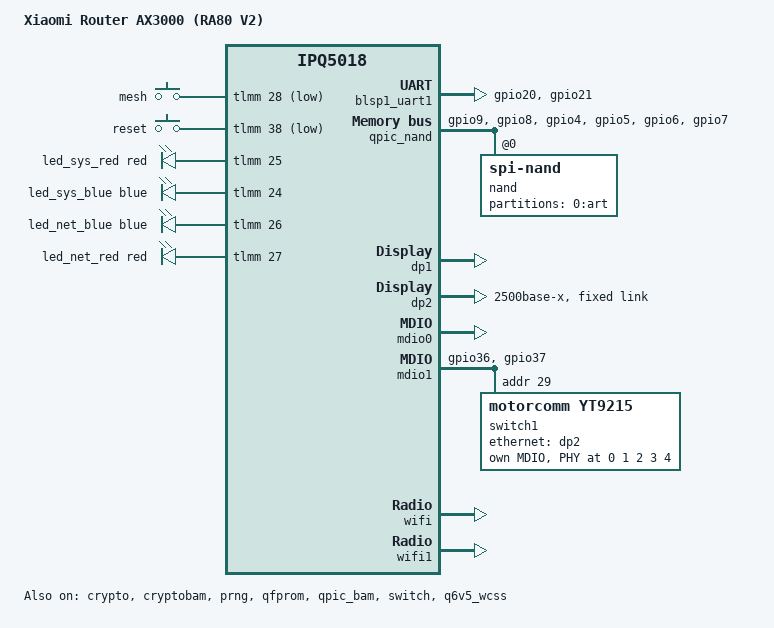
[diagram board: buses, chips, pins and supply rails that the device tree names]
// SPDX-License-Identifier: GPL-2.0-or-later OR MIT
/*
 * Xiaomi Router AX3000 (RA80 V2)
 * IPQ5018 + QCN6122, 128MB SPI-NAND, 256MB RAM
 *
 * 以太网拓扑（原厂 V2 实测）：
 *   MAC0(dp1) -> 内置 GE PHY（未接外置交换机）
 *   MAC1(dp2) -> Uniphy SGMII+ 2500 -> YT9215S CPU port (port 8)
 *   YT9215S: MDIO1，默认地址 0x1d，5 个内置 GbE PHY
 *   原厂 swconfig 端口映射：
 *     port0 -> Lan1, port1 -> Lan2, port2 -> Lan3, port3 -> Wan
 *     port5(原厂编号) = 2500M CPU 链路
 *
 * 本机实测：
 *   - ART: 0x0 = MAC0, 0x6 = MAC1
 *   - LED: 24/25/26/27，低电平点亮
 *   - KEY: mesh=28, reset=38
 *   - UART 由引导器配置；内核 bootargs 不要带 console=ttyMSM0
 *   - NAND 4-bit ECC 读取正常
 */

/dts-v1/;

#include "ipq5018.dtsi"
#include "ipq5018-ess.dtsi"
#include "ipq5018-qcn6122.dtsi"
#include "ipq5018-nss.dtsi"

#include <dt-bindings/gpio/gpio.h>
#include <dt-bindings/input/input.h>
#include <dt-bindings/leds/common.h>
#include <dt-bindings/net/qcom-ipq-ess.h>

/ {
	model = "Xiaomi Router AX3000 (RA80 V2)";
	compatible = "xiaomi,ra80-v2", "qcom,ipq5018";

	aliases {
		serial0 = &blsp1_uart1;
		led-boot = &led_sys_red;
		led-failsafe = &led_sys_red;
		led-running = &led_sys_blue;
		led-upgrade = &led_sys_red;
		label-mac-device = <&dp2>;
	};

	chosen {
		bootargs-append = " root=/dev/ubiblock0_1 swiotlb=1 coherent_pool=2M";
		stdout-path = "serial0:115200n8";
	};

	keys {
		compatible = "gpio-keys";
		pinctrl-0 = <&button_pins>;
		pinctrl-names = "default";

		mesh-button {
			label = "mesh";
			gpios = <&tlmm 28 GPIO_ACTIVE_LOW>;
			/* 原厂 linux,code = 0x109 (265) */
			linux,code = <265>;
		};

		reset-button {
			label = "reset";
			gpios = <&tlmm 38 GPIO_ACTIVE_LOW>;
			linux,code = <KEY_RESTART>;
		};
	};

	leds {
		compatible = "gpio-leds";
		pinctrl-0 = <&led_pins>;
		pinctrl-names = "default";

		led_sys_red: led-sys-red {
			gpios = <&tlmm 25 GPIO_ACTIVE_HIGH>;
			color = <LED_COLOR_ID_RED>;
			function = LED_FUNCTION_STATUS;
			default-state = "on";
		};

		led_sys_blue: led-sys-blue {
			gpios = <&tlmm 24 GPIO_ACTIVE_HIGH>;
			color = <LED_COLOR_ID_BLUE>;
			function = LED_FUNCTION_STATUS;
			default-state = "off";
		};

		led_net_blue: led-net-blue {
			gpios = <&tlmm 26 GPIO_ACTIVE_HIGH>;
			color = <LED_COLOR_ID_BLUE>;
			function = LED_FUNCTION_WAN;
			default-state = "off";
		};

		led_net_red: led-net-red {
			gpios = <&tlmm 27 GPIO_ACTIVE_HIGH>;
			color = <LED_COLOR_ID_RED>;
			function = LED_FUNCTION_WAN;
			/* WAN 未连接时常亮红灯 */
			default-state = "on";
		};
	};
};

&sleep_clk {
	clock-frequency = <32000>;
};

&xo_board_clk {
	clock-div = <4>;
	clock-mult = <1>;
};

&blsp1_uart1 {
	status = "okay";

	/*
	 * 原厂 serial@78af000 没有 pinctrl-0，串口由引导器配置。
	 * 这里保留原引脚定义，实测串口可用。
	 */
	pinctrl-0 = <&serial_0_pins>;
	pinctrl-names = "default";
};

&crypto {
	status = "okay";
};

&cryptobam {
	status = "okay";
};

&prng {
	status = "okay";
};

&qfprom {
	status = "okay";
};

&qpic_bam {
	status = "okay";
};

&qpic_nand {
	pinctrl-0 = <&qpic_pins>;
	pinctrl-names = "default";
	status = "okay";

	nand@0 {
		compatible = "spi-nand";
		reg = <0>;
		nand-ecc-engine = <&qpic_nand>;
		nand-bus-width = <8>;

		/*
		 * 分区表由引导器经 SMEM 传入（已验证版本）。
		 * RA80 原厂 label 为小写 0:art。
		 */
		partitions {
			compatible = "qcom,smem-part";

			partition-art {
				label = "0:art";
				read-only;

				nvmem-layout {
					compatible = "fixed-layout";
					#address-cells = <1>;
					#size-cells = <1>;

					macaddr_art_0: macaddr@0 {
						reg = <0x0 0x6>;
					};

					macaddr_art_6: macaddr@6 {
						compatible = "mac-base";
						reg = <0x6 0x6>;
						#nvmem-cell-cells = <1>;
					};
				};
			};
		};
	};
};

&switch {
	status = "okay";

	/* 原厂 V2: SGMII+ 2500 到 YT9215S */
	switch_mac_mode = <MAC_MODE_SGMII_PLUS>;

	qcom,port_phyinfo {
		/* MAC0 -> 内置 GE PHY */
		port@0 {
			port_id = <1>;
			mdiobus = <&mdio0>;
			phy_address = <7>;
		};

		/* MAC1 -> Uniphy SGMII+ 2500 -> YT9215S CPU port */
		port@1 {
			port_id = <2>;
			/* qca-ssdk 需要这个属性才会选 PORT_GMAC_TYPE = SGMII+ */
			port_mac_sel = "QGMAC_PORT";
			forced-speed = <2500>;
			forced-duplex = <1>;
		};
	};
};

&dp1 {
	status = "okay";

	nvmem-cells = <&macaddr_art_0>;
	nvmem-cell-names = "mac-address";
};

&dp2 {
	status = "okay";

	nvmem-cells = <&macaddr_art_6 0>;
	nvmem-cell-names = "mac-address";
	phy-mode = "2500base-x";

	fixed-link {
		speed = <2500>;
		full-duplex;
	};
};

&mdio0 {
	status = "okay";
};

&ge_phy {
	qcom,dac-preset-short-cable;
};

&mdio1 {
	status = "okay";

	pinctrl-0 = <&mdio1_pins>;
	pinctrl-names = "default";

	/*
	 * V2 使用 Motorcomm YT9215S，不是 V1 的 QCA8337。
	 * 默认 strap 地址 0x1d；如果探测不到，改试 0x0。
	 */
	switch1: switch@1d {
		compatible = "motorcomm,yt9215";
		reg = <0x1d>;

		mdio {
			#address-cells = <1>;
			#size-cells = <0>;

			yt_phy0: phy@0 {
				reg = <0>;
			};

			yt_phy1: phy@1 {
				reg = <1>;
			};

			yt_phy2: phy@2 {
				reg = <2>;
			};

			yt_phy3: phy@3 {
				reg = <3>;
			};

			yt_phy4: phy@4 {
				reg = <4>;
			};
		};

		ethernet-ports {
			#address-cells = <1>;
			#size-cells = <0>;

			ethernet-port@0 {
				reg = <0>;
				label = "lan1";
				phy-mode = "internal";
				phy-handle = <&yt_phy0>;
			};

			ethernet-port@1 {
				reg = <1>;
				label = "lan2";
				phy-mode = "internal";
				phy-handle = <&yt_phy1>;
			};

			ethernet-port@2 {
				reg = <2>;
				label = "lan3";
				phy-mode = "internal";
				phy-handle = <&yt_phy2>;
			};

			ethernet-port@3 {
				reg = <3>;
				label = "wan";
				phy-mode = "internal";
				phy-handle = <&yt_phy3>;
			};

			/* CPU port: YT9215S external GMAC (Port 8) */
			ethernet-port@8 {
				reg = <8>;
				/* 主线 yt921x 把 SGMII 当作 REVSGMII 用 */
				phy-mode = "sgmii";
				ethernet = <&dp2>;

				fixed-link {
					speed = <2500>;
					full-duplex;
					pause;
					asym-pause;
				};
			};
		};
	};
};

&tlmm {
	button_pins: button-state {
		pins = "gpio28", "gpio38";
		function = "gpio";
		drive-strength = <8>;
		bias-pull-up;
	};

	led_pins: led-state {
		pins = "gpio24", "gpio25", "gpio26", "gpio27";
		function = "gpio";
		drive-strength = <8>;
		bias-pull-down;
	};

	mdio1_pins: mdio-state {
		mdc-pins {
			pins = "gpio36";
			function = "mdc";
			drive-strength = <8>;
			bias-pull-up;
		};

		mdio-pins {
			pins = "gpio37";
			function = "mdio";
			drive-strength = <8>;
			bias-pull-up;
		};
	};

	qpic_pins: qpic-state {
		clock-pins {
			pins = "gpio9";
			function = "qspi_clk";
			drive-strength = <8>;
			bias-disable;
		};

		cs-pins {
			pins = "gpio8";
			function = "qspi_cs";
			drive-strength = <8>;
			bias-disable;
		};

		data-pins {
			pins = "gpio4", "gpio5", "gpio6", "gpio7";
			function = "qspi_data";
			drive-strength = <8>;
			bias-disable;
		};
	};

	serial_0_pins: uart0-state {
		pins = "gpio20", "gpio21";
		function = "blsp0_uart1";
		drive-strength = <8>;
		bias-disable;
	};
};

/*
 * RA80 要启用 WiFi。注意 256MB 内存较紧；
 * 如果双频同时开启导致 OOM，可先关闭 2.4G：
 *   &wifi { status = "disabled"; };
 */
&q6v5_wcss {
	status = "okay";
};

&wifi {
	// IPQ5018 2.4G
	status = "okay";
	qcom,rproc = <&q6_wcss_pd1>;
	qcom,ath11k-calibration-variant = "Xiaomi-RA80";
	qcom,ath11k-fw-memory-mode = <2>;
	qcom,bdf-addr = <0x4c400000>;

	ieee80211-freq-limit = <2400000 2483000>;
};

&wifi1 {
	// QCN6122 5G
	status = "okay";
	qcom,rproc = <&q6_wcss_pd2>;
	qcom,userpd-subsys-name = "q6v5_wcss_userpd2";
	qcom,ath11k-calibration-variant = "Xiaomi-RA80";
	qcom,ath11k-fw-memory-mode = <2>;
	qcom,bdf-addr = <0x4d100000>;
	qcom,m3-dump-addr = <0x4df00000>;

	ieee80211-freq-limit = <5150000 5730000>;
};

&wifi2 {
	status = "disabled";
};
